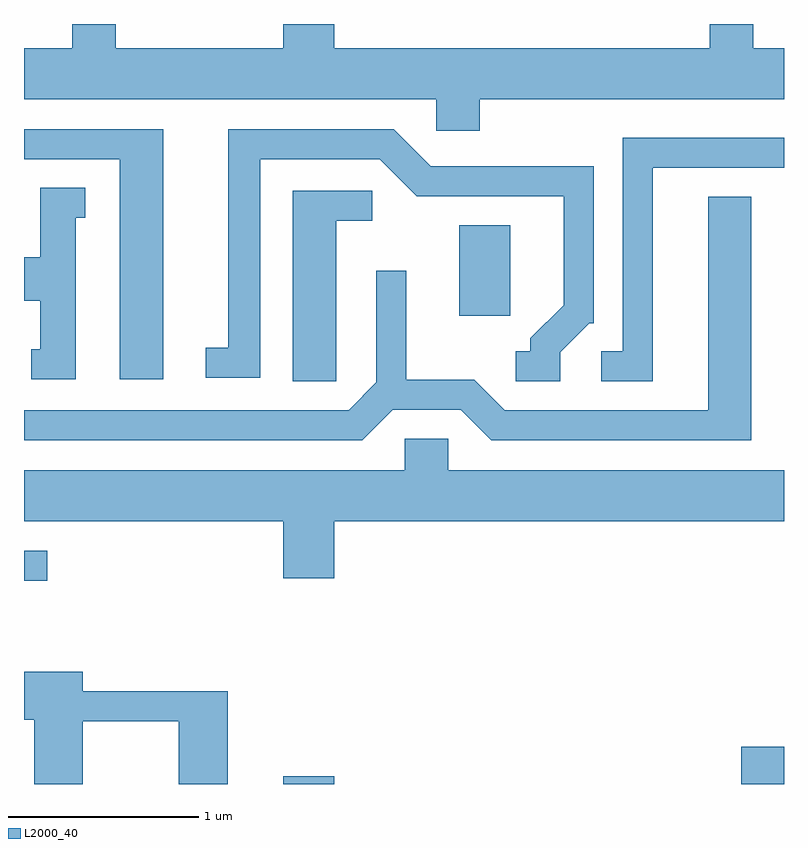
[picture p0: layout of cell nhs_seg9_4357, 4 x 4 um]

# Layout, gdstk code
import gdstk
lib = gdstk.Library(unit=1e-6, precision=1e-09)
def R(c, l, rs):  # rectangles x0, y0, x1, y1
    for r in rs: c.add(gdstk.rectangle(r[:2], r[2:], *l))
def P(c, l, *ps):  # polygons
    for p in ps: c.add(gdstk.Polygon(p, *l))
L2000_40 = (2000, 40)

nhs_seg9_4357 = lib.new_cell('nhs_seg9_4357')
R(nhs_seg9_4357, L2000_40, [(314.976,1990.432,315.244,1990.474), (317.386,1990.432,317.611,1990.629), (313.611,1991.501,313.733,1991.659), (315.901,1992.896,316.169,1993.374)])
P(nhs_seg9_4357, L2000_40, [(316.009,1994.036),(317.611,1994.036),(317.611,1994.304),(317.449,1994.304),(317.449,1994.432),(317.221,1994.432),(317.221,1994.304),(315.244,1994.304),(315.244,1994.432),(314.976,1994.432),(314.976,1994.304),(314.094,1994.304),(314.094,1994.432),(313.866,1994.432),(313.866,1994.304),(313.611,1994.304),(313.611,1994.036),(315.781,1994.036),(315.781,1993.871),(316.009,1993.871)],
  [(316.434,1992.704),(316.587,1992.856),(316.609,1992.856),(316.609,1993.684),(315.752,1993.684),(315.557,1993.879),(314.686,1993.879),(314.686,1992.729),(314.568,1992.729),(314.568,1992.571),(314.854,1992.571),(314.854,1993.721),(315.484,1993.721),(315.679,1993.526),(316.451,1993.526),(316.451,1992.952),(316.276,1992.777),(316.276,1992.709),(316.198,1992.709),(316.198,1992.551),(316.434,1992.551)],
  [(314.344,1993.879),(313.611,1993.879),(313.611,1993.721),(314.116,1993.721),(314.116,1992.561),(314.344,1992.561)],
  [(316.919,1993.676),(317.611,1993.676),(317.611,1993.834),(316.761,1993.834),(316.761,1992.709),(316.648,1992.709),(316.648,1992.551),(316.919,1992.551)],
  [(313.884,1993.411),(313.933,1993.411),(313.933,1993.569),(313.696,1993.569),(313.696,1993.204),(313.611,1993.204),(313.611,1992.976),(313.696,1992.976),(313.696,1992.719),(313.648,1992.719),(313.648,1992.561),(313.884,1992.561)],
  [(315.254,1993.396),(315.443,1993.396),(315.443,1993.554),(315.026,1993.554),(315.026,1992.551),(315.254,1992.551)],
  [(315.552,1992.401),(315.909,1992.401),(316.069,1992.241),(317.439,1992.241),(317.439,1993.524),(317.211,1993.524),(317.211,1992.399),(316.142,1992.399),(315.982,1992.559),(315.624,1992.559),(315.624,1993.133),(315.466,1993.133),(315.466,1992.547),(315.319,1992.399),(313.611,1992.399),(313.611,1992.241),(315.392,1992.241)],
  [(315.244,1991.816),(317.611,1991.816),(317.611,1992.084),(315.844,1992.084),(315.844,1992.249),(315.616,1992.249),(315.616,1992.084),(313.611,1992.084),(313.611,1991.816),(314.976,1991.816),(314.976,1991.516),(315.244,1991.516)],
  [(313.919,1990.761),(314.426,1990.761),(314.426,1990.432),(314.684,1990.432),(314.684,1990.919),(313.919,1990.919),(313.919,1991.024),(313.611,1991.024),(313.611,1990.771),(313.666,1990.771),(313.666,1990.432),(313.919,1990.432)])

lib.write_gds('nhs_seg9_4357.gds')
